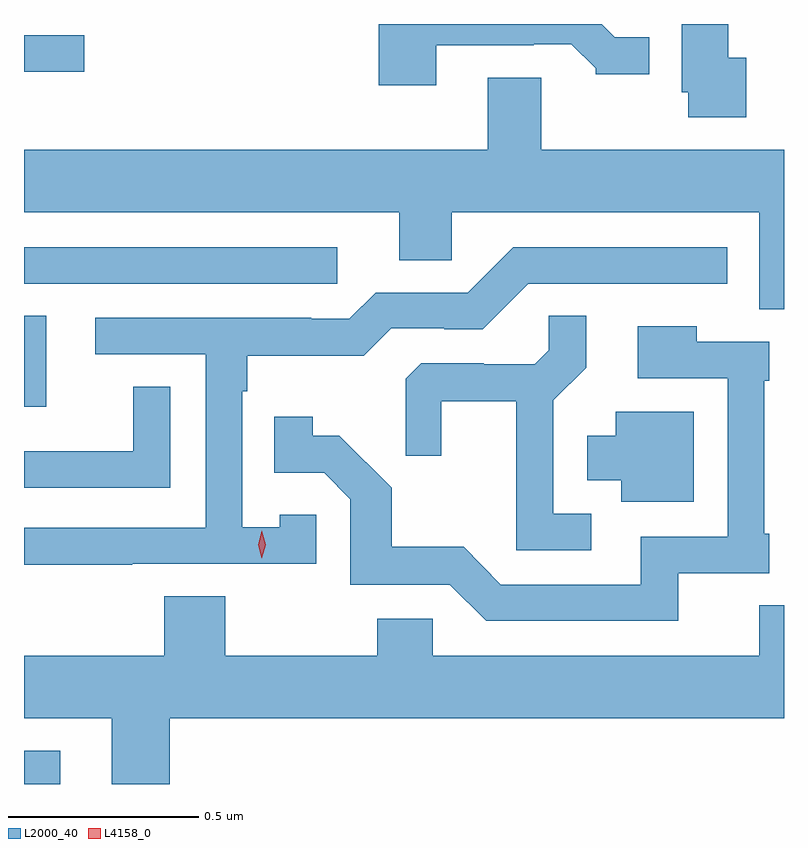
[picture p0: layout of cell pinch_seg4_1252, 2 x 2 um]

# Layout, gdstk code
import gdstk
lib = gdstk.Library(unit=1e-6, precision=1e-09)
def R(c, l, rs):  # rectangles x0, y0, x1, y1
    for r in rs: c.add(gdstk.rectangle(r[:2], r[2:], *l))
def P(c, l, *ps):  # polygons
    for p in ps: c.add(gdstk.Polygon(p, *l))
L2000_40 = (2000, 40)
L4158_0 = (4158, 0)

pinch_seg4_1252 = lib.new_cell('pinch_seg4_1252')
R(pinch_seg4_1252, L2000_40, [(334.484,819.291,334.579,819.379), (334.484,820.284,334.543,820.523), (334.484,820.608,335.308,820.704), (334.484,821.165,334.642,821.262)])
P(pinch_seg4_1252, L2000_40, [(335.569,821.235),(335.825,821.235),(335.825,821.238),(335.924,821.238),(335.988,821.174),(335.988,821.159),(336.13,821.159),(336.13,821.256),(336.039,821.256),(336.004,821.291),(335.417,821.291),(335.417,821.13),(335.569,821.13)],
  [(336.384,821.202),(336.337,821.202),(336.337,821.291),(336.215,821.291),(336.215,821.112),(336.232,821.112),(336.232,821.046),(336.384,821.046)],
  [(336.484,820.96),(335.845,820.96),(335.845,821.15),(335.705,821.15),(335.705,820.96),(334.484,820.96),(334.484,820.796),(335.471,820.796),(335.471,820.669),(335.61,820.669),(335.61,820.796),(336.419,820.796),(336.419,820.54),(336.484,820.54)],
  [(334.769,819.87),(335.253,819.87),(335.253,819.999),(335.157,819.999),(335.157,819.967),(335.058,819.967),(335.058,820.325),(335.071,820.325),(335.071,820.418),(335.378,820.418),(335.451,820.491),(335.59,820.491),(335.59,820.488),(335.691,820.488),(335.811,820.608),(336.334,820.608),(336.334,820.704),(335.772,820.704),(335.652,820.584),(335.409,820.584),(335.34,820.515),(335.24,820.515),(335.24,820.518),(334.671,820.518),(334.671,820.422),(334.962,820.422),(334.962,819.966),(334.484,819.966),(334.484,819.868),(334.769,819.868)],
  [(335.977,820.002),(335.877,820.002),(335.877,820.301),(335.963,820.387),(335.963,820.523),(335.865,820.523),(335.865,820.432),(335.828,820.395),(335.694,820.395),(335.694,820.398),(335.529,820.398),(335.488,820.357),(335.488,820.155),(335.582,820.155),(335.582,820.298),(335.78,820.298),(335.78,819.906),(335.977,819.906)],
  [(336.206,819.846),(336.445,819.846),(336.445,819.949),(336.432,819.949),(336.432,820.352),(336.445,820.352),(336.445,820.455),(336.255,820.455),(336.255,820.495),(336.099,820.495),(336.099,820.359),(336.336,820.359),(336.336,819.942),(336.107,819.942),(336.107,819.816),(335.739,819.816),(335.641,819.915),(335.452,819.915),(335.452,820.07),(335.314,820.208),(335.244,820.208),(335.244,820.258),(335.143,820.258),(335.143,820.11),(335.274,820.11),(335.343,820.041),(335.343,819.816),(335.604,819.816),(335.7,819.72),(336.206,819.72)],
  [(334.869,820.337),(334.771,820.337),(334.771,820.167),(334.484,820.167),(334.484,820.071),(334.869,820.071)],
  [(336.247,820.27),(336.041,820.27),(336.041,820.207),(335.966,820.207),(335.966,820.091),(336.056,820.091),(336.056,820.034),(336.247,820.034)],
  [(334.868,819.464),(336.484,819.464),(336.484,819.761),(336.419,819.761),(336.419,819.628),(335.559,819.628),(335.559,819.726),(335.413,819.726),(335.413,819.628),(335.013,819.628),(335.013,819.785),(334.853,819.785),(334.853,819.628),(334.484,819.628),(334.484,819.464),(334.715,819.464),(334.715,819.291),(334.868,819.291)])
P(pinch_seg4_1252, L4158_0, [(335.11,819.885),(335.11,819.885),(335.1,819.921),(335.11,819.957),(335.11,819.957),(335.11,819.957),(335.12,819.921),(335.11,819.885)])

lib.write_gds('pinch_seg4_1252.gds')
